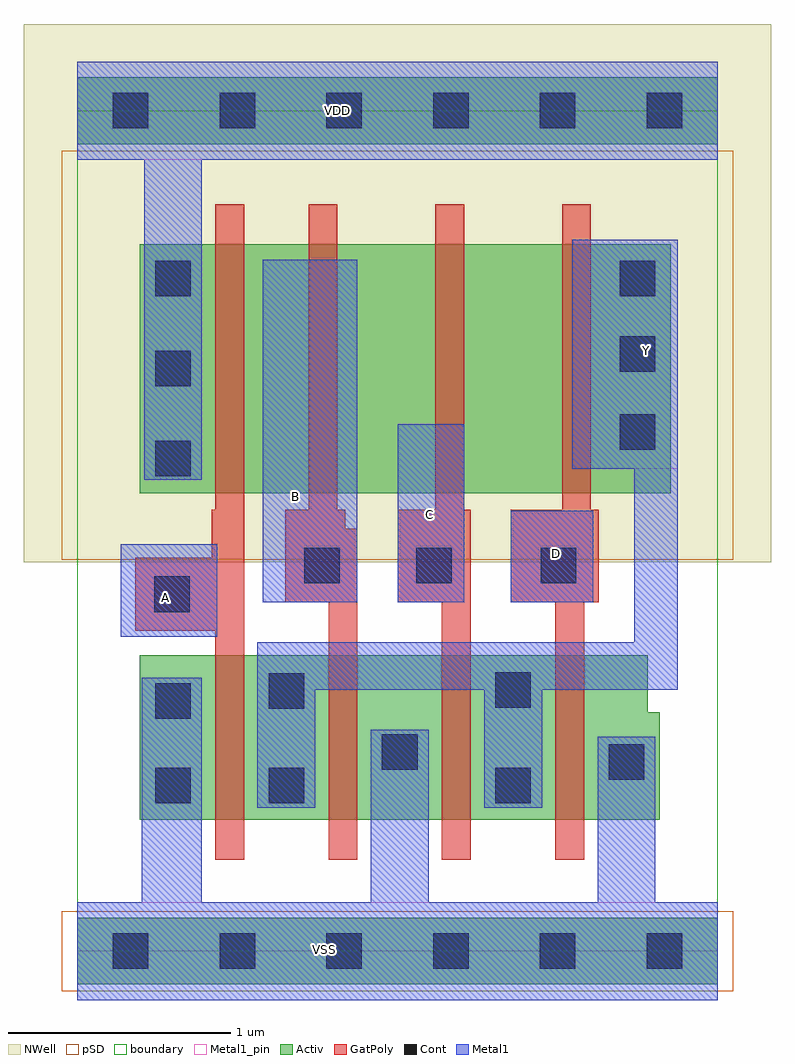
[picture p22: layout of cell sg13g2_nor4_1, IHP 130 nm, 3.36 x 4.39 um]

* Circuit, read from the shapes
.subckt sg13g2_nor4_1 A B C D VDD VSS Y
XM1 Y A VSS VSS sg13_lv_nmos w=0.74u l=0.13u
XM2 VSS B Y VSS sg13_lv_nmos w=0.74u l=0.13u
XM3 Y C VSS VSS sg13_lv_nmos w=0.74u l=0.13u
XM4 VSS D Y VSS sg13_lv_nmos w=0.74u l=0.13u
XM5 n1 A VDD VDD sg13_lv_pmos w=1.12u l=0.13u
XM6 n2 B n1 VDD sg13_lv_pmos w=1.12u l=0.13u
XM7 n3 C n2 VDD sg13_lv_pmos w=1.12u l=0.13u
XM8 Y D n3 VDD sg13_lv_pmos w=1.12u l=0.13u
.ends

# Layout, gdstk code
import gdstk
lib = gdstk.Library(unit=1e-6, precision=1e-09)
def R(c, l, rs):  # rectangles x0, y0, x1, y1
    for r in rs: c.add(gdstk.rectangle(r[:2], r[2:], *l))
def A(c, l, x, y, w, h, nx, ny, dx, dy):  # array of equal rectangles
    R(c, l, [(x+i*dx, y+j*dy, x+i*dx+w, y+j*dy+h) for i in range(nx) for j in range(ny)])
def P(c, l, *ps):  # polygons
    for p in ps: c.add(gdstk.Polygon(p, *l))
Activ = (1, 0)
GatPoly = (5, 0)
Cont = (6, 0)
Metal1 = (8, 0)
Metal1_pin = (8, 2)
pSD = (14, 0)
NWell = (31, 0)
boundary = (189, 4)

sg13g2_nor4_1 = lib.new_cell('sg13g2_nor4_1')
R(sg13g2_nor4_1, Activ, [(0,-0.15,2.88,0.15), (0.28,2.06,2.67,3.18), (0,3.63,2.88,3.93)])
P(sg13g2_nor4_1, Activ, [(0.28,0.59),(0.28,1.33),(2.565,1.33),(2.565,1.075),(2.62,1.075),(2.62,0.59)])
R(sg13g2_nor4_1, GatPoly, [(1.95,1.57,2.15,1.985)])
P(sg13g2_nor4_1, GatPoly, [(2.15,0.41),(2.15,1.985),(2.18,1.985),(2.18,3.36),(2.31,3.36),(2.31,1.985),(2.345,1.985),(2.345,1.57),(2.28,1.57),(2.28,0.41)],
  [(1.64,0.41),(1.64,1.57),(1.44,1.57),(1.44,1.985),(1.61,1.985),(1.61,3.36),(1.74,3.36),(1.74,1.985),(1.77,1.985),(1.77,0.41)],
  [(1.13,0.41),(1.13,1.57),(0.935,1.57),(0.935,1.985),(1.04,1.985),(1.04,3.36),(1.17,3.36),(1.17,1.985),(1.205,1.985),(1.205,1.9),(1.26,1.9),(1.26,0.41)],
  [(0.62,0.41),(0.62,1.44),(0.26,1.44),(0.26,1.77),(0.605,1.77),(0.605,1.985),(0.62,1.985),(0.62,3.36),(0.75,3.36),(0.75,0.41)])
A(sg13g2_nor4_1, Cont, 0.35, 2.135, 0.16, 0.16, 1, 3, 0, 0.405)
R(sg13g2_nor4_1, Cont, [(0.16,-0.08,0.32,0.08), (0.16,-0.08,0.32,0.08), (0.64,-0.08,0.8,0.08), (0.64,-0.08,0.8,0.08), (1.12,-0.08,1.28,0.08), (1.12,-0.08,1.28,0.08), (1.6,-0.08,1.76,0.08), (1.6,-0.08,1.76,0.08), (2.08,-0.08,2.24,0.08), (2.08,-0.08,2.24,0.08), (2.56,-0.08,2.72,0.08), (2.56,-0.08,2.72,0.08), (0.35,0.665,0.51,0.825), (0.86,0.665,1.02,0.825), (1.88,0.665,2.04,0.825), (2.39,0.77,2.55,0.93), (1.37,0.815,1.53,0.975), (0.35,1.045,0.51,1.205), (0.86,1.09,1.02,1.25), (1.88,1.095,2.04,1.255), (0.345,1.525,0.505,1.685), (1.02,1.655,1.18,1.815), (1.525,1.655,1.685,1.815), (2.085,1.655,2.245,1.815), (2.44,2.255,2.6,2.415), (2.44,2.605,2.6,2.765), (2.44,2.945,2.6,3.105), (0.16,3.7,0.32,3.86), (0.16,3.7,0.32,3.86), (0.64,3.7,0.8,3.86), (0.64,3.7,0.8,3.86), (1.12,3.7,1.28,3.86), (1.12,3.7,1.28,3.86), (1.6,3.7,1.76,3.86), (1.6,3.7,1.76,3.86), (2.08,3.7,2.24,3.86), (2.08,3.7,2.24,3.86), (2.56,3.7,2.72,3.86), (2.56,3.7,2.72,3.86)])
R(sg13g2_nor4_1, Metal1, [(0,-0.22,2.88,0.22), (0.29,0.22,0.56,1.23), (1.32,0.22,1.58,0.995), (2.34,0.22,2.6,0.965), (0.195,1.415,0.63,1.83), (0.835,1.57,1.26,3.11), (1.44,1.57,1.74,2.37), (1.95,1.57,2.32,1.98), (0.3,2.12,0.56,3.56), (0,3.56,2.88,4)])
P(sg13g2_nor4_1, Metal1, [(0.81,0.645),(0.81,1.39),(2.505,1.39),(2.505,2.17),(2.225,2.17),(2.225,3.2),(2.7,3.2),(2.7,1.175),(2.09,1.175),(2.09,0.645),(1.83,0.645),(1.83,1.175),(1.07,1.175),(1.07,0.645)])
R(sg13g2_nor4_1, Metal1_pin, [(0,-0.22,2.88,0.22), (0.195,1.415,0.63,1.83), (0.835,1.57,1.26,3.11), (1.44,1.57,1.74,2.37), (1.95,1.57,2.32,1.98), (2.225,2.17,2.7,3.2), (0,3.56,2.88,4)])
R(sg13g2_nor4_1, pSD, [(-0.07,-0.18,2.95,0.18), (-0.07,1.76,2.95,3.6)])
R(sg13g2_nor4_1, NWell, [(-0.24,1.75,3.12,4.17)])
R(sg13g2_nor4_1, boundary, [(0,0,2.88,3.78)])
sg13g2_nor4_1.add(gdstk.Label('D', (2.155,1.79), layer=8, texttype=25))
sg13g2_nor4_1.add(gdstk.Label('A', (0.395,1.59), layer=8, texttype=25))
sg13g2_nor4_1.add(gdstk.Label('C', (1.585,1.965), layer=8, texttype=25))
sg13g2_nor4_1.add(gdstk.Label('Y', (2.56,2.7), layer=8, texttype=25))
sg13g2_nor4_1.add(gdstk.Label('B', (0.98,2.045), layer=8, texttype=25))
sg13g2_nor4_1.add(gdstk.Label('VDD', (1.17,3.78), layer=8, texttype=25))
sg13g2_nor4_1.add(gdstk.Label('VSS', (1.11,0.005), layer=8, texttype=25))

lib.write_gds('sg13g2_nor4_1.gds')
